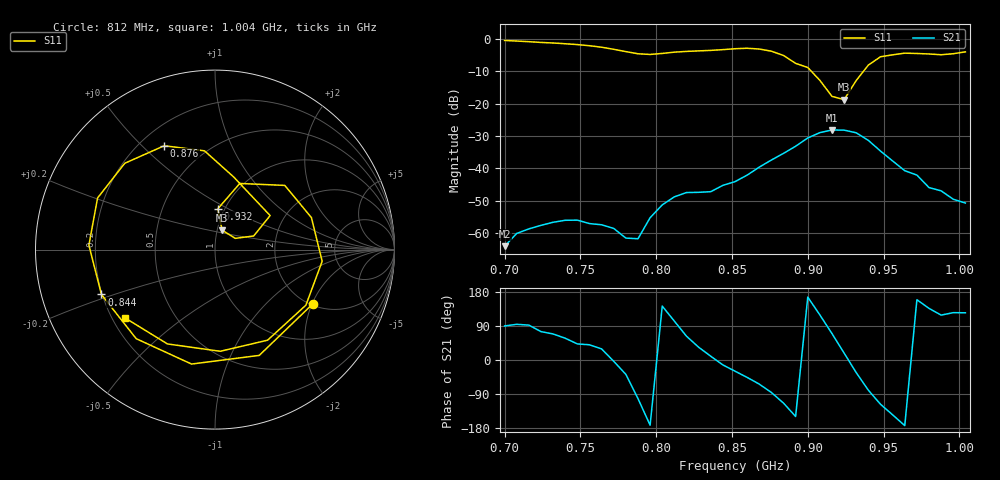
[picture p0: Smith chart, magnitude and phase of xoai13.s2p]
# Hz S RI R 50
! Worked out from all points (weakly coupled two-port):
!   39 points, 700 MHz to 1.004 GHz, reference 50 ohm
!   highest |S21| = -28.12 dB at 916 MHz (marker M1); lowest = -64.0 dB at 700 MHz (marker M2)
!   lowest |S11| = -18.8 dB at 924 MHz (marker M3), VSWR 1.26, Z = 52.8 + j11.6 ohm
!   |S11| at or under -10 dB: 902.3 MHz to 936.8 MHz (34.48 MHz wide, 3.75 % of centre)
!   S12 and S22 are empty: the file has one direction only
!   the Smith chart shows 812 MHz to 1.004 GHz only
!   S11 on the Smith chart (normalised r, x): 812 MHz: 2.04, -2.02; 844 MHz: 0.20, -0.18; 876 MHz: 0.30, +0.58; 932 MHz: 0.93, +0.45; 1.004 GHz: 0.25, -0.32
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7e8  0.7614 0.5559  1.27e-06 0.000634  0 0  0 0
7.24e8  0.8417 -0.252  0.000346 0.00128  0 0  0 0
7.4e8  0.4557 -0.7042  0.000855 0.00134  0 0  0 0
7.56e8  -0.1933 -0.758  0.00108 0.000911  0 0  0 0
7.72e8  -0.6614 -0.192  0.00119 -7.24e-05  0 0  0 0
7.8e8  -0.5889 0.2362  0.000666 -0.00052  0 0  0 0
7.88e8  -0.2304 0.5406  -0.00017 -0.000808  0 0  0 0
7.96e8  0.2599 0.5115  -0.00172 -0.000242  0 0  0 0
8.04e8  0.5756 0.1486  -0.00217 0.00168  0 0  0 0
8.12e8  0.5433 -0.3039  -0.000794 0.00357  0 0  0 0
8.28e8  -0.1307 -0.6376  0.00357 0.00239  0 0  0 0
8.44e8  -0.6327 -0.2501  0.00535 -0.00123  0 0  0 0
8.52e8  -0.7026 0.0245  0.00546 -0.00309  0 0  0 0
8.76e8  -0.2827 0.5787  0.00102 -0.0135  0 0  0 0
9e8  0.3072 0.1897  -0.0287 0.00719  0 0  0 0
9.08e8  0.2156 0.0759  -0.0172 0.0313  0 0  0 0
9.16e8  0.1131 0.0626  0.0137 0.0368  0 0  0 0
9.24e8  0.0396 0.1085  0.0371 0.0122  0 0  0 0
9.32e8  0.0156 0.2274  0.0296 -0.0196  0 0  0 0
9.56e8  0.5372 0.1785  -0.0107 -0.00754  0 0  0 0
9.8e8  0.293 -0.5047  -0.00367 0.00351  0 0  0 0
1.004e9  -0.5002 -0.3812  -0.00166 0.00242  0 0  0 0
